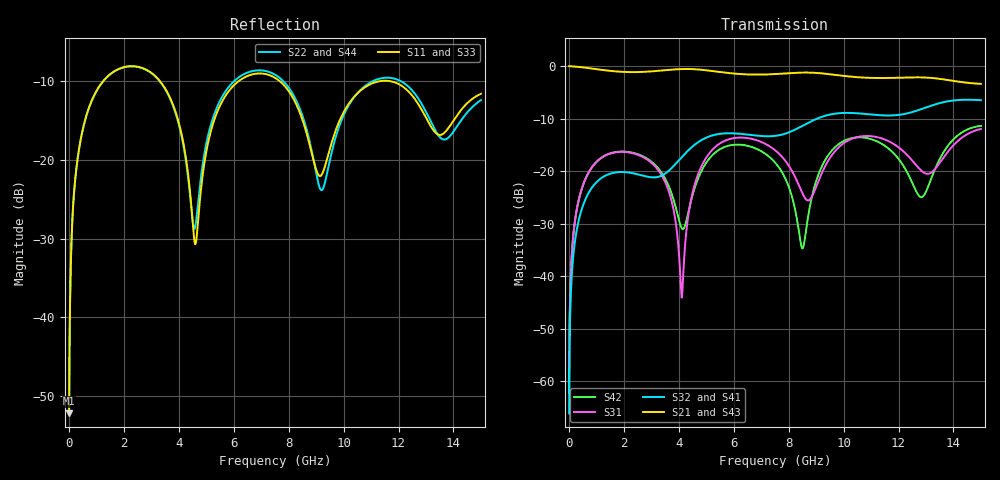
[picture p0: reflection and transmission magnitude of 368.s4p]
! Created with skrf 1.8.0 (http://scikit-rf.org).
# GHz S RI R 50.0
!freq ReS11 ImS11 ReS12 ImS12 ReS13 ImS13
! ReS14 ImS14
! ReS21 ImS21 ReS22 ImS22 ReS23 ImS23
! ReS24 ImS24
! ReS31 ImS31 ReS32 ImS32 ReS33 ImS33
! ReS34 ImS34
! ReS41 ImS41 ReS42 ImS42 ReS43 ImS43
! ReS44 ImS44
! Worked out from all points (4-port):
!   2499 points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, 5 MHz to 15 GHz, reference 50 ohm
!   strongest paths, dB at 5 MHz, 3.476 GHz, 7.19 GHz, 11.1 GHz, 15 GHz:
!     S21: 0.0, -0.8, -1.6, -2.3, -3.4
!     S43: 0.0, -0.8, -1.6, -2.3, -3.4
!     S32: -66.1, -20.6, -13.4, -9.3, -6.5
!     S41: -66.1, -20.6, -13.4, -9.3, -6.5
!     S31: -62.2, -21.8, -14.9, -13.4, -12.0
!     S42: -62.2, -21.2, -16.9, -14.1, -11.4
!   lowest |S11| = -52.2 dB at 5 MHz (marker M1), VSWR 1.00, Z = 50.2 + j0.149 ohm
!   |S11| at or under -10 dB: 3.317 GHz to 6.172 GHz (2.855 GHz wide, 60.2 % of centre); 7.68 GHz to 11.29 GHz (3.614 GHz wide, 38.1 % of centre); 11.72 GHz to end of sweep (the widest 3 of 4)
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0.005  0.00196 0.00149  0.998 -0.00381  9.91e-05 0.000772  -9.63e-05 -0.000485
       0.998 -0.00381  0.00196 0.00149  -9.63e-05 -0.000485  9.92e-05 0.000772
       9.91e-05 0.000772  -9.63e-05 -0.000485  0.00196 0.00149  0.998 -0.00381
       -9.63e-05 -0.000485  9.92e-05 0.000772  0.998 -0.00381  0.00196 0.00149
1.269279  0.2644 0.1807  0.5639 -0.72  0.123 0.0635  -0.0884 -0.00885
          0.5639 -0.72  0.2639 0.1811  -0.0885 -0.00874  0.1245 0.0614
          0.123 0.0635  -0.0885 -0.00874  0.2644 0.1808  0.5638 -0.72
          -0.0884 -0.00885  0.1245 0.0614  0.5638 -0.72  0.264 0.181
4.101709  0.0707 -0.1269  -0.8567 -0.3788  0.00629 0.000265  -0.0513 0.1253
          -0.8567 -0.3788  0.0747 -0.1197  -0.0496 0.126  -0.0252 -0.0137
          0.00629 0.000265  -0.0496 0.126  0.0716 -0.1267  -0.8567 -0.3787
          -0.0513 0.1253  -0.0252 -0.0137  -0.8567 -0.3787  0.074 -0.1204
5.383493  0.1363 0.1449  -0.7782 0.4238  0.1468 0.0948  0.1385 0.1756
          -0.7782 0.4238  0.1541 0.1495  0.1409 0.174  0.0986 0.1189
          0.1468 0.0948  0.1409 0.174  0.137 0.1445  -0.7779 0.4242
          0.1385 0.1756  0.0986 0.1189  -0.7779 0.4242  0.154 0.1507
9.228845  0.081 0.0134  0.845 0.1021  -0.00806 0.0984  0.0343 -0.3287
          0.845 0.1021  0.0648 0.000555  0.0257 -0.3292  0.0135 0.1129
          -0.00806 0.0984  0.0257 -0.3292  0.0842 0.00921  0.8449 0.102
          0.0343 -0.3287  0.0135 0.1129  0.8449 0.102  0.0629 -0.00189
12.01751  0.2975 -0.057  -0.0791 -0.7711  0.0778 -0.1482  -0.3342 0.074
          -0.0791 -0.7711  0.313 -0.0711  -0.3324 0.086  0.0801 -0.1015
          0.0778 -0.1482  -0.3324 0.086  0.298 -0.0589  -0.0813 -0.7701
          -0.3342 0.074  0.0801 -0.1015  -0.0813 -0.7701  0.3162 -0.0714
15  0.2604 0.0383  -0.5903 0.3334  0.2152 0.1308  0.2949 0.3669
    -0.5903 0.3334  0.2371 0.0369  0.3104 0.3575  0.2295 0.141
    0.2152 0.1308  0.3104 0.3575  0.253 0.0299  -0.5889 0.3369
    0.2949 0.3669  0.2295 0.141  -0.5889 0.3369  0.2415 0.036
